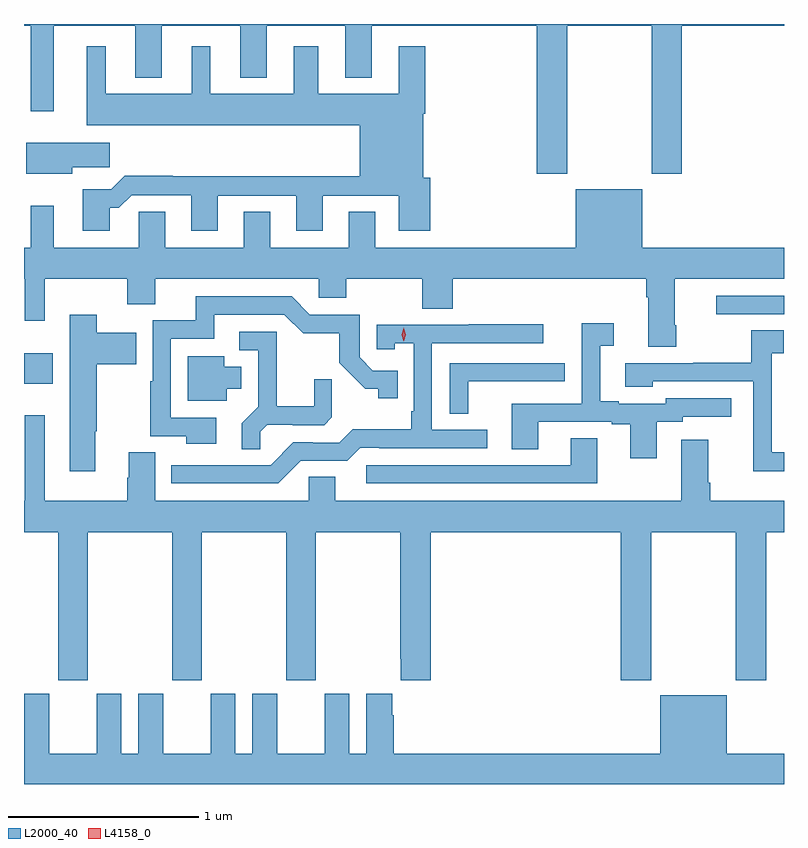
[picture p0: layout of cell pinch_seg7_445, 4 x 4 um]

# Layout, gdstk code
import gdstk
lib = gdstk.Library(unit=1e-6, precision=1e-09)
def R(c, l, rs):  # rectangles x0, y0, x1, y1
    for r in rs: c.add(gdstk.rectangle(r[:2], r[2:], *l))
def P(c, l, *ps):  # polygons
    for p in ps: c.add(gdstk.Polygon(p, *l))
L2000_40 = (2000, 40)
L4158_0 = (4158, 0)

pinch_seg7_445 = lib.new_cell('pinch_seg7_445')
R(pinch_seg7_445, L2000_40, [(292.105,1053.344,292.255,1053.505), (295.749,1053.711,296.105,1053.807)])
P(pinch_seg7_445, L2000_40, [(294.963,1055.228),(295.408,1055.228),(295.408,1054.449),(295.568,1054.449),(295.568,1055.228),(296.105,1055.228),(296.105,1055.238),(292.105,1055.238),(292.105,1055.228),(292.14,1055.228),(292.14,1054.779),(292.261,1054.779),(292.261,1055.228),(292.691,1055.228),(292.691,1054.955),(292.831,1054.955),(292.831,1055.228),(293.243,1055.228),(293.243,1054.955),(293.383,1054.955),(293.383,1055.228),(293.795,1055.228),(293.795,1054.955),(293.935,1054.955),(293.935,1055.228),(294.803,1055.228),(294.803,1054.449),(294.963,1054.449)],
  [(292.555,1054.271),(292.604,1054.271),(292.671,1054.338),(292.985,1054.338),(292.985,1054.149),(293.125,1054.149),(293.125,1054.335),(293.537,1054.335),(293.537,1054.149),(293.677,1054.149),(293.677,1054.335),(294.077,1054.335),(294.077,1054.149),(294.242,1054.149),(294.242,1054.428),(294.205,1054.428),(294.205,1054.766),(294.218,1054.766),(294.218,1055.122),(294.077,1055.122),(294.077,1054.87),(293.653,1054.87),(293.653,1055.122),(293.525,1055.122),(293.525,1054.87),(293.086,1054.87),(293.086,1055.122),(292.988,1055.122),(292.988,1054.87),(292.534,1054.87),(292.534,1055.122),(292.436,1055.122),(292.436,1054.706),(293.873,1054.706),(293.873,1054.436),(292.889,1054.436),(292.889,1054.439),(292.634,1054.439),(292.564,1054.369),(292.415,1054.369),(292.415,1054.149),(292.555,1054.149)],
  [(292.36,1054.483),(292.555,1054.483),(292.555,1054.612),(292.116,1054.612),(292.116,1054.451),(292.36,1054.451)],
  [(295.539,1053.652),(295.531,1053.652),(295.531,1053.896),(296.105,1053.896),(296.105,1054.06),(295.36,1054.06),(295.36,1054.369),(295.01,1054.369),(295.01,1054.06),(293.953,1054.06),(293.953,1054.25),(293.813,1054.25),(293.813,1054.06),(293.401,1054.06),(293.401,1054.25),(293.261,1054.25),(293.261,1054.06),(292.849,1054.06),(292.849,1054.25),(292.71,1054.25),(292.71,1054.06),(292.261,1054.06),(292.261,1054.282),(292.14,1054.282),(292.14,1054.06),(292.105,1054.06),(292.105,1053.896),(292.109,1053.896),(292.109,1053.675),(292.213,1053.675),(292.213,1053.896),(292.648,1053.896),(292.648,1053.763),(292.795,1053.763),(292.795,1053.896),(293.655,1053.896),(293.655,1053.798),(293.802,1053.798),(293.802,1053.896),(294.202,1053.896),(294.202,1053.739),(294.362,1053.739),(294.362,1053.896),(295.379,1053.896),(295.379,1053.8),(295.391,1053.8),(295.391,1053.54),(295.539,1053.54)],
  [(293.116,1053.165),(292.878,1053.165),(292.878,1053.582),(293.107,1053.582),(293.107,1053.708),(293.475,1053.708),(293.574,1053.61),(293.763,1053.61),(293.763,1053.454),(293.9,1053.317),(293.97,1053.317),(293.97,1053.267),(294.071,1053.267),(294.071,1053.414),(293.94,1053.414),(293.871,1053.483),(293.871,1053.708),(293.61,1053.708),(293.514,1053.804),(293.009,1053.804),(293.009,1053.678),(292.782,1053.678),(292.782,1053.359),(292.77,1053.359),(292.77,1053.069),(292.96,1053.069),(292.96,1053.029),(293.116,1053.029)],
  [(292.48,1053.095),(292.488,1053.095),(292.488,1053.448),(292.697,1053.448),(292.697,1053.613),(292.488,1053.613),(292.488,1053.709),(292.346,1053.709),(292.346,1052.883),(292.48,1052.883)],
  [(295.435,1053.144),(295.572,1053.144),(295.572,1053.171),(295.828,1053.171),(295.828,1053.267),(295.482,1053.267),(295.482,1053.24),(295.234,1053.24),(295.234,1053.253),(295.138,1053.253),(295.138,1053.544),(295.21,1053.544),(295.21,1053.664),(295.041,1053.664),(295.041,1053.24),(294.671,1053.24),(294.671,1053.001),(294.811,1053.001),(294.811,1053.144),(295.199,1053.144),(295.199,1053.132),(295.295,1053.132),(295.295,1052.952),(295.435,1052.952)],
  [(293.562,1052.94),(293.805,1052.94),(293.874,1053.009),(293.974,1053.009),(293.974,1053.006),(294.544,1053.006),(294.544,1053.102),(294.252,1053.102),(294.252,1053.558),(294.838,1053.558),(294.838,1053.657),(294.445,1053.657),(294.445,1053.654),(293.961,1053.654),(293.961,1053.525),(294.057,1053.525),(294.057,1053.557),(294.156,1053.557),(294.156,1053.199),(294.144,1053.199),(294.144,1053.106),(293.836,1053.106),(293.763,1053.033),(293.624,1053.033),(293.624,1053.036),(293.523,1053.036),(293.403,1052.916),(292.88,1052.916),(292.88,1052.82),(293.442,1052.82)],
  [(296.105,1052.983),(296.04,1052.983),(296.04,1053.505),(296.104,1053.505),(296.104,1053.626),(295.932,1053.626),(295.932,1053.456),(295.627,1053.456),(295.627,1053.453),(295.269,1053.453),(295.269,1053.329),(295.413,1053.329),(295.413,1053.357),(295.944,1053.357),(295.944,1053.125),(295.942,1053.125),(295.942,1052.885),(296.105,1052.885)],
  [(293.349,1053.092),(293.386,1053.129),(293.52,1053.129),(293.52,1053.126),(293.685,1053.126),(293.726,1053.167),(293.726,1053.369),(293.632,1053.369),(293.632,1053.226),(293.435,1053.226),(293.435,1053.618),(293.238,1053.618),(293.238,1053.522),(293.337,1053.522),(293.337,1053.223),(293.251,1053.137),(293.251,1053.001),(293.349,1053.001)],
  [(293.173,1053.317),(293.248,1053.317),(293.248,1053.433),(293.158,1053.433),(293.158,1053.49),(292.967,1053.49),(292.967,1053.254),(293.173,1053.254)],
  [(294.444,1053.357),(294.839,1053.357),(294.839,1053.358),(294.952,1053.358),(294.952,1053.453),(294.345,1053.453),(294.345,1053.187),(294.444,1053.187)],
  [(292.44,1052.564),(292.885,1052.564),(292.885,1051.785),(293.04,1051.785),(293.04,1052.564),(293.485,1052.564),(293.485,1051.785),(293.64,1051.785),(293.64,1052.564),(294.085,1052.564),(294.085,1051.897),(294.089,1051.897),(294.089,1051.785),(294.245,1051.785),(294.245,1052.564),(295.247,1052.564),(295.247,1051.785),(295.407,1051.785),(295.407,1052.564),(295.852,1052.564),(295.852,1051.785),(296.012,1051.785),(296.012,1052.564),(296.105,1052.564),(296.105,1052.728),(295.718,1052.728),(295.718,1052.824),(295.705,1052.824),(295.705,1053.049),(295.565,1053.049),(295.565,1052.728),(293.743,1052.728),(293.743,1052.855),(293.604,1052.855),(293.604,1052.728),(292.795,1052.728),(292.795,1052.984),(292.655,1052.984),(292.655,1052.85),(292.648,1052.85),(292.648,1052.728),(292.213,1052.728),(292.213,1053.178),(292.109,1053.178),(292.109,1052.728),(292.105,1052.728),(292.105,1052.564),(292.285,1052.564),(292.285,1051.785),(292.44,1051.785)],
  [(295.123,1053.059),(294.983,1053.059),(294.983,1052.916),(293.907,1052.916),(293.907,1052.82),(295.123,1052.82)],
  [(296.105,1051.396),(295.804,1051.396),(295.804,1051.705),(295.454,1051.705),(295.454,1051.396),(294.05,1051.396),(294.05,1051.601),(294.043,1051.601),(294.043,1051.714),(293.906,1051.714),(293.906,1051.396),(293.818,1051.396),(293.818,1051.714),(293.687,1051.714),(293.687,1051.396),(293.437,1051.396),(293.437,1051.714),(293.306,1051.714),(293.306,1051.396),(293.218,1051.396),(293.218,1051.714),(293.087,1051.714),(293.087,1051.396),(292.837,1051.396),(292.837,1051.714),(292.706,1051.714),(292.706,1051.396),(292.618,1051.396),(292.618,1051.714),(292.487,1051.714),(292.487,1051.396),(292.237,1051.396),(292.237,1051.714),(292.106,1051.714),(292.106,1051.396),(292.105,1051.396),(292.105,1051.238),(296.105,1051.238)])
P(pinch_seg7_445, L4158_0, [(294.104,1053.567),(294.104,1053.567),(294.094,1053.603),(294.104,1053.638),(294.104,1053.639),(294.104,1053.638),(294.114,1053.603),(294.104,1053.567)])

lib.write_gds('pinch_seg7_445.gds')
